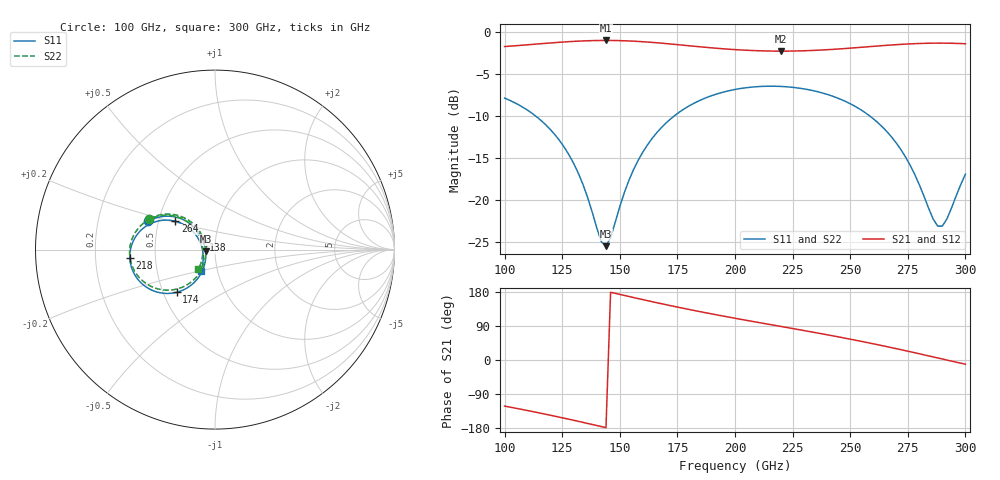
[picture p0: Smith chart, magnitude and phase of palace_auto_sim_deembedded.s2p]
! Created with skrf 1.11.0 (http://scikit-rf.org).
# GHz S DB R 50.0
!freq dBS11 angS11 dBS21 angS21 dBS12 angS12 dBS22 angS22
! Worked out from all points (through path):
!   101 points, 100 GHz to 300 GHz, reference 50 ohm
!   highest |S21| = -0.96 dB at 144 GHz (marker M1); lowest = -2.2 dB at 220 GHz (marker M2)
!   group delay of S21, straight-line fit = 3.4 ps
!   lowest |S11| = -25.5 dB at 144 GHz (marker M3), VSWR 1.11, Z = 45.1 - j0.839 ohm
!   |S11| at or under -10 dB: 113.5 GHz to 173.5 GHz (60.03 GHz wide, 41.8 % of centre); 258.6 GHz to end of sweep
!   |S22| runs from -25.7 to -6.4 dB; largest |S21 - S12| = 9.5e-14
!   S11 on the Smith chart (normalised r, x): 100 GHz: 0.44, +0.16; 138 GHz: 0.87, +0.09; 174 GHz: 0.59, -0.31; 218 GHz: 0.36, -0.04; 264 GHz: 0.61, +0.21; 300 GHz: 0.83, -0.20
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100  -7.85 157.2  -1.68 -121.7  -1.68 -121.7  -7.86 154.9
120  -11.65 138.2  -1.25 -146.0  -1.25 -146.0  -11.66 135.4
128  -14.66 133.2  -1.10 -156.5  -1.10 -156.5  -14.68 130.1
134  -18.16 134.1  -1.01 -164.6  -1.01 -164.6  -18.19 130.8
138  -21.46 142.2  -0.98 -170.1  -0.98 -170.1  -21.51 138.7
142  -25.02 168.1  -0.96 -175.7  -0.96 -175.7  -25.13 164.6
144  -25.55 -169.9  -0.96 -178.5  -0.96 -178.5  -25.68 -173.1
156  -16.38 -120.3  -1.04 164.8  -1.04 164.8  -16.41 -123.6
168  -11.39 -126.5  -1.28 148.7  -1.28 148.7  -11.41 -130.1
174  -9.90 -131.9  -1.43 140.9  -1.43 140.9  -9.92 -135.7
186  -7.97 -143.6  -1.74 126.2  -1.74 126.2  -7.99 -147.7
200  -6.82 -157.3  -2.05 110.2  -2.05 110.2  -6.83 -161.7
218  -6.43 -174.2  -2.23 90.6  -2.23 90.6  -6.45 -179.1
220  -6.45 -176.1  -2.23 88.5  -2.23 88.5  -6.47 179.0
234  -6.96 171.0  -2.15 73.2  -2.15 73.2  -6.98 165.7
250  -8.52 156.2  -1.88 55.0  -1.88 55.0  -8.54 150.6
264  -11.30 144.4  -1.58 37.7  -1.58 37.7  -11.32 138.5
268  -12.51 141.9  -1.50 32.5  -1.50 32.5  -12.53 135.8
276  -15.86 140.5  -1.37 21.9  -1.37 21.9  -15.89 134.2
288  -23.15 -179.3  -1.28 5.4  -1.28 5.4  -23.22 174.2
292  -22.29 -148.3  -1.28 -0.2  -1.28 -0.2  -22.35 -154.7
300  -16.94 -124.0  -1.35 -11.2  -1.35 -11.2  -16.97 -130.7
